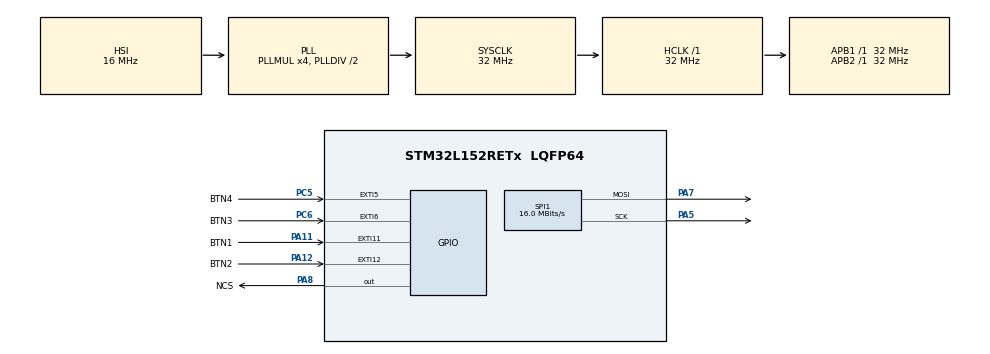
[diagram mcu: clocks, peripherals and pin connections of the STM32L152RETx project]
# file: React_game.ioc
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Mcu.Family=STM32L1
Mcu.Name=STM32L152RETx
Mcu.Package=LQFP64
NVIC.EXTI15_10_IRQn=true\:0\:0\:false\:false\:true\:true\:true\:true
NVIC.EXTI9_5_IRQn=true\:0\:0\:false\:false\:true\:true\:true\:true
NVIC.PriorityGroup=NVIC_PRIORITYGROUP_4
NVIC.TIM2_IRQn=true\:0\:0\:false\:false\:true\:true\:true\:true
PA11.GPIO_Label=BTN1
PA11.Signal=GPXTI11
PA12.GPIO_Label=BTN2
PA12.Signal=GPXTI12
PA5.Mode=TX_Only_Simplex_Unidirect_Master
PA5.Signal=SPI1_SCK
PA7.Mode=TX_Only_Simplex_Unidirect_Master
PA7.Signal=SPI1_MOSI
PA8.GPIO_Label=NCS
PA8.Signal=GPIO_Output
PC5.GPIO_Label=BTN4
PC5.Signal=GPXTI5
PC6.GPIO_Label=BTN3
PC6.Signal=GPXTI6
ProjectManager.HeapSize=0x200
ProjectManager.StackSize=0x400
ProjectManager.TargetToolchain=STM32CubeIDE
RCC.48MHZClocksFreq_Value=32000000
RCC.AHBFreq_Value=32000000
RCC.APB1Freq_Value=32000000
RCC.APB1TimCLKDivider=2
RCC.APB1TimFreq_Value=64000000
RCC.APB2Freq_Value=32000000
RCC.APB2TimFreq_Value=32000000
RCC.HCLKFreq_Value=32000000
RCC.HSE_VALUE=24000000
RCC.HSI_VALUE=16000000
RCC.LSE_VALUE=32768
RCC.MSI_VALUE=2097000
RCC.PLLMUL=RCC_PLL_MUL4
RCC.SYSCLKFreq_VALUE=32000000
RCC.SYSCLKSource=RCC_SYSCLKSOURCE_PLLCLK
RCC.VCOOutputFreq_Value=64000000
SPI1.CalculateBaudRate=16.0 MBits/s
SPI1.Direction=SPI_DIRECTION_2LINES
SPI1.Mode=SPI_MODE_MASTER
SPI1.VirtualType=VM_MASTER
TIM2.Period=499
TIM2.Prescaler=31999
VP_TIM2_VS_ClockSourceINT.Mode=Internal
board=custom

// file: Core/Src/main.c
/* USER CODE BEGIN Header */
/**
  ******************************************************************************
  * @file           : main.c
  * @brief          : Main program body
  ******************************************************************************
  * @attention
  *
  * Copyright (c) 2024 STMicroelectronics.
  * All rights reserved.
  *
  * This software is licensed under terms that can be found in the LICENSE file
  * in the root directory of this software component.
  * If no LICENSE file comes with this software, it is provided AS-IS.
  *
  ******************************************************************************
  */
/* USER CODE END Header */
#include "main.h"

/* USER CODE BEGIN Includes */
#include "game.h"
/* USER CODE END Includes */

SPI_HandleTypeDef hspi1;

TIM_HandleTypeDef htim2;

void SystemClock_Config(void);
static void MX_GPIO_Init(void);
static void MX_SPI1_Init(void);
static void MX_TIM2_Init(void);

int main(void)
{

  /* MCU Configuration--------------------------------------------------------*/

  /* Reset of all peripherals, Initializes the Flash interface and the Systick. */
  HAL_Init();

  /* Configure the system clock */
  SystemClock_Config();

  /* Initialize all configured peripherals */
  MX_GPIO_Init();
  MX_SPI1_Init();
  MX_TIM2_Init();
  /* USER CODE BEGIN 2 */
  MAX7219_Handle_TypeDef max7219_handle ={
            &hspi1,
            NCS_GPIO_Port,
            NCS_Pin,
            4
    };
  HAL_StatusTypeDef game_status = HAL_OK;

    Game_Handle_TypeDef game_handler = {
            //led_array,
            max7219_handle,
    };

    FSM_Handle_TypeDef fsm_handler;

    init_game(&game_handler, &fsm_handler);

  /* USER CODE END 2 */

  /* Infinite loop */
  while (1)
  {

    /* USER CODE BEGIN 3 */
	  game_status=run_game();
	  if(game_status != HAL_OK)Error_Handler();
  }
  /* USER CODE END 3 */
}

void SystemClock_Config(void)
{
  RCC_OscInitTypeDef RCC_OscInitStruct = {0};
  RCC_ClkInitTypeDef RCC_ClkInitStruct = {0};

  /** Configure the main internal regulator output voltage
  */
  __HAL_PWR_VOLTAGESCALING_CONFIG(PWR_REGULATOR_VOLTAGE_SCALE1);

  /** Initializes the RCC Oscillators according to the specified parameters
  * in the RCC_OscInitTypeDef structure.
  */
  RCC_OscInitStruct.OscillatorType = RCC_OSCILLATORTYPE_HSI;
  RCC_OscInitStruct.HSIState = RCC_HSI_ON;
  RCC_OscInitStruct.HSICalibrationValue = RCC_HSICALIBRATION_DEFAULT;
  RCC_OscInitStruct.PLL.PLLState = RCC_PLL_ON;
  RCC_OscInitStruct.PLL.PLLSource = RCC_PLLSOURCE_HSI;
  RCC_OscInitStruct.PLL.PLLMUL = RCC_PLL_MUL4;
  RCC_OscInitStruct.PLL.PLLDIV = RCC_PLL_DIV2;
  if (HAL_RCC_OscConfig(&RCC_OscInitStruct) != HAL_OK)
  {
    Error_Handler();
  }

  /** Initializes the CPU, AHB and APB buses clocks
  */
  RCC_ClkInitStruct.ClockType = RCC_CLOCKTYPE_HCLK|RCC_CLOCKTYPE_SYSCLK
                              |RCC_CLOCKTYPE_PCLK1|RCC_CLOCKTYPE_PCLK2;
  RCC_ClkInitStruct.SYSCLKSource = RCC_SYSCLKSOURCE_PLLCLK;
  RCC_ClkInitStruct.AHBCLKDivider = RCC_SYSCLK_DIV1;
  RCC_ClkInitStruct.APB1CLKDivider = RCC_HCLK_DIV1;
  RCC_ClkInitStruct.APB2CLKDivider = RCC_HCLK_DIV1;

  if (HAL_RCC_ClockConfig(&RCC_ClkInitStruct, FLASH_LATENCY_1) != HAL_OK)
  {
    Error_Handler();
  }
}

static void MX_SPI1_Init(void)
{

  /* SPI1 parameter configuration*/
  hspi1.Instance = SPI1;
  hspi1.Init.Mode = SPI_MODE_MASTER;
  hspi1.Init.Direction = SPI_DIRECTION_2LINES;
  hspi1.Init.DataSize = SPI_DATASIZE_8BIT;
  hspi1.Init.CLKPolarity = SPI_POLARITY_LOW;
  hspi1.Init.CLKPhase = SPI_PHASE_1EDGE;
  hspi1.Init.NSS = SPI_NSS_SOFT;
  hspi1.Init.BaudRatePrescaler = SPI_BAUDRATEPRESCALER_2;
  hspi1.Init.FirstBit = SPI_FIRSTBIT_MSB;
  hspi1.Init.TIMode = SPI_TIMODE_DISABLE;
  hspi1.Init.CRCCalculation = SPI_CRCCALCULATION_DISABLE;
  hspi1.Init.CRCPolynomial = 10;
  if (HAL_SPI_Init(&hspi1) != HAL_OK)
  {
    Error_Handler();
  }

}

static void MX_TIM2_Init(void)
{

  TIM_ClockConfigTypeDef sClockSourceConfig = {0};
  TIM_MasterConfigTypeDef sMasterConfig = {0};

  htim2.Instance = TIM2;
  htim2.Init.Prescaler = 31999;
  htim2.Init.CounterMode = TIM_COUNTERMODE_UP;
  htim2.Init.Period = 499;
  htim2.Init.ClockDivision = TIM_CLOCKDIVISION_DIV1;
  htim2.Init.AutoReloadPreload = TIM_AUTORELOAD_PRELOAD_DISABLE;
  if (HAL_TIM_Base_Init(&htim2) != HAL_OK)
  {
    Error_Handler();
  }
  sClockSourceConfig.ClockSource = TIM_CLOCKSOURCE_INTERNAL;
  if (HAL_TIM_ConfigClockSource(&htim2, &sClockSourceConfig) != HAL_OK)
  {
    Error_Handler();
  }
  sMasterConfig.MasterOutputTrigger = TIM_TRGO_RESET;
  sMasterConfig.MasterSlaveMode = TIM_MASTERSLAVEMODE_DISABLE;
  if (HAL_TIMEx_MasterConfigSynchronization(&htim2, &sMasterConfig) != HAL_OK)
  {
    Error_Handler();
  }

}

static void MX_GPIO_Init(void)
{
  GPIO_InitTypeDef GPIO_InitStruct = {0};

  /* GPIO Ports Clock Enable */
  __HAL_RCC_GPIOA_CLK_ENABLE();
  __HAL_RCC_GPIOC_CLK_ENABLE();

  /*Configure GPIO pin Output Level */
  HAL_GPIO_WritePin(NCS_GPIO_Port, NCS_Pin, GPIO_PIN_RESET);

  /*Configure GPIO pins : BTN4_Pin BTN3_Pin */
  GPIO_InitStruct.Pin = BTN4_Pin|BTN3_Pin;
  GPIO_InitStruct.Mode = GPIO_MODE_IT_RISING;
  GPIO_InitStruct.Pull = GPIO_NOPULL;
  HAL_GPIO_Init(GPIOC, &GPIO_InitStruct);

  /*Configure GPIO pin : NCS_Pin */
  GPIO_InitStruct.Pin = NCS_Pin;
  GPIO_InitStruct.Mode = GPIO_MODE_OUTPUT_PP;
  GPIO_InitStruct.Pull = GPIO_NOPULL;
  GPIO_InitStruct.Speed = GPIO_SPEED_FREQ_LOW;
  HAL_GPIO_Init(NCS_GPIO_Port, &GPIO_InitStruct);

  /*Configure GPIO pins : BTN1_Pin BTN2_Pin */
  GPIO_InitStruct.Pin = BTN1_Pin|BTN2_Pin;
  GPIO_InitStruct.Mode = GPIO_MODE_IT_RISING;
  GPIO_InitStruct.Pull = GPIO_NOPULL;
  HAL_GPIO_Init(GPIOA, &GPIO_InitStruct);

  /* EXTI interrupt init*/
  HAL_NVIC_SetPriority(EXTI9_5_IRQn, 0, 0);
  HAL_NVIC_EnableIRQ(EXTI9_5_IRQn);

  HAL_NVIC_SetPriority(EXTI15_10_IRQn, 0, 0);
  HAL_NVIC_EnableIRQ(EXTI15_10_IRQn);

}

void Error_Handler(void)
{
  __disable_irq();
  while (1)
  {
  }
}
